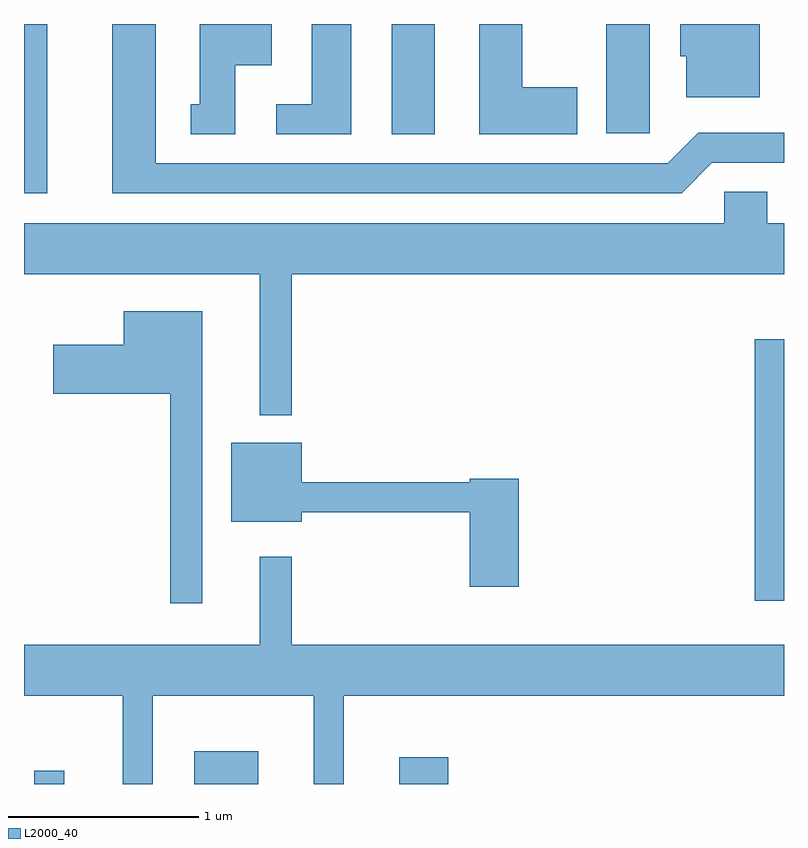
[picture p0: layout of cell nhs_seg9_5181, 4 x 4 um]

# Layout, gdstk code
import gdstk
lib = gdstk.Library(unit=1e-6, precision=1e-09)
def R(c, l, rs):  # rectangles x0, y0, x1, y1
    for r in rs: c.add(gdstk.rectangle(r[:2], r[2:], *l))
def P(c, l, *ps):  # polygons
    for p in ps: c.add(gdstk.Polygon(p, *l))
L2000_40 = (2000, 40)

nhs_seg9_5181 = lib.new_cell('nhs_seg9_5181')
R(nhs_seg9_5181, L2000_40, [(337.666,2022.432,337.824,2022.503), (338.506,2022.432,338.844,2022.604), (339.586,2022.432,339.844,2022.574), (341.456,2023.396,341.611,2024.774), (337.611,2025.541,337.734,2026.432), (339.546,2025.851,339.774,2026.432), (340.676,2025.856,340.904,2026.432)])
P(nhs_seg9_5181, L2000_40, [(341.484,2026.432),(341.066,2026.432),(341.066,2026.261),(341.096,2026.261),(341.096,2026.046),(341.484,2026.046)],
  [(338.724,2026.216),(338.914,2026.216),(338.914,2026.432),(338.536,2026.432),(338.536,2026.009),(338.488,2026.009),(338.488,2025.851),(338.724,2025.851)],
  [(341.232,2025.701),(341.611,2025.701),(341.611,2025.859),(341.159,2025.859),(340.999,2025.699),(338.304,2025.699),(338.304,2026.432),(338.076,2026.432),(338.076,2025.541),(341.072,2025.541)],
  [(339.334,2026.432),(339.126,2026.432),(339.126,2026.009),(338.938,2026.009),(338.938,2025.851),(339.334,2025.851)],
  [(340.524,2026.099),(340.234,2026.099),(340.234,2026.432),(340.006,2026.432),(340.006,2025.851),(340.524,2025.851)],
  [(339.019,2025.116),(341.611,2025.116),(341.611,2025.384),(341.524,2025.384),(341.524,2025.549),(341.296,2025.549),(341.296,2025.384),(337.611,2025.384),(337.611,2025.116),(338.851,2025.116),(338.851,2024.373),(339.019,2024.373)],
  [(338.549,2024.919),(338.136,2024.919),(338.136,2024.744),(337.766,2024.744),(337.766,2024.486),(338.381,2024.486),(338.381,2023.383),(338.549,2023.383)],
  [(340.214,2024.039),(339.956,2024.039),(339.956,2024.019),(339.074,2024.019),(339.074,2024.229),(338.701,2024.229),(338.701,2023.811),(339.074,2023.811),(339.074,2023.861),(339.956,2023.861),(339.956,2023.471),(340.214,2023.471)],
  [(338.289,2022.896),(339.136,2022.896),(339.136,2022.432),(339.294,2022.432),(339.294,2022.896),(341.611,2022.896),(341.611,2023.164),(339.019,2023.164),(339.019,2023.628),(338.851,2023.628),(338.851,2023.164),(337.611,2023.164),(337.611,2022.896),(338.131,2022.896),(338.131,2022.432),(338.289,2022.432)])

lib.write_gds('nhs_seg9_5181.gds')
